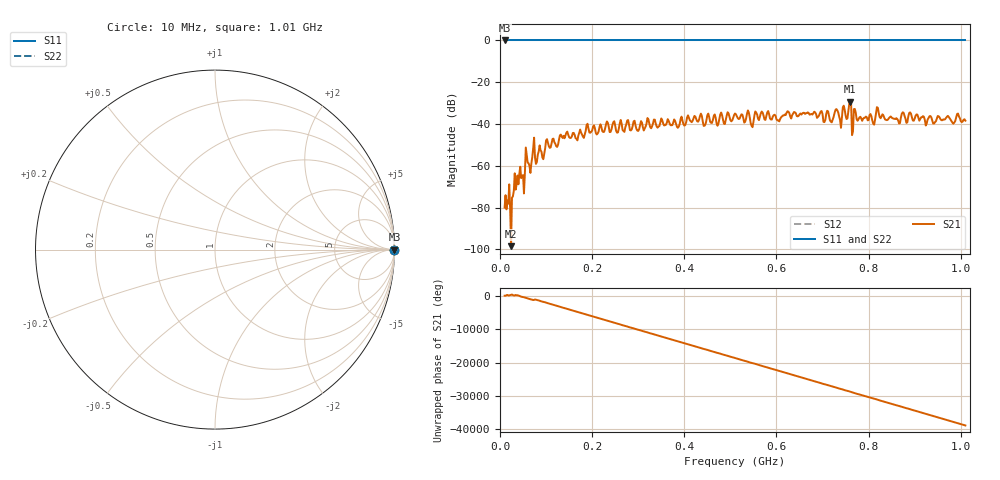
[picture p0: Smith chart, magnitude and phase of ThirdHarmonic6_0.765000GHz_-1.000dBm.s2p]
! 8/16/2025 1:34:16 AM
! C:\ANRITSUVNA\TEMP\TEMP.S2P
! CHANNEL.1
! TR.MEASUREMENT
! RAW.DATA
! RF.CORRECTION.OFF
! AVERAGING.OFF
! IF.BANDWIDTH: 5KHZ
! SWEEPTYPE:  FREQ.SWEEP(Linear)
! Reference Plane Port Info
! PORT:  PORT1  PORT2
! DISTANCE:  0  m  0  m
! TIME:  0  s  0  s
! PHASE.OFFSET:  0  deg.  0  deg.
! LOSS:  0  dB  0  dB
! REF.LOSS:  0  dB  0  dB
! REF.FREQ:  0  Hz  0  Hz
! Power Info
! POWER:  -20  dBm  -20  dBm
! EFF.POWER:  -20  dBm  -20  dBm
! SOURCE.ATTEN:  0  dB  0  dB
! TEST.ATTEN:  0  dB  0  dB
# GHZ S RI R 50.0
! FREQ.GHZ  S11RE  S11IM  S21RE  S21IM  S12RE  S12IM  S22RE  S22IM
!; PortSelection: Port_12
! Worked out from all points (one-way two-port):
!   501 points, 10 MHz to 1.01 GHz, reference 50 ohm
!   highest |S21| = -29.32 dB at 760 MHz (marker M1); lowest = -98.5 dB at 24 MHz (marker M2)
!   lowest |S11| = 0.0 dB at 10 MHz (marker M3)
!   |S11| at or under -10 dB: nowhere
!   |S22| runs from 0.0 to 0.0 dB; largest |S21 - S12| = 1
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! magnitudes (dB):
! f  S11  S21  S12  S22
! 10 MHz  0.0  -80.1  0.0  0.0
! 24 MHz  0.0  -98.5  0.0  0.0
! 72 MHz  0.0  -51.7  0.0  0.0
! 80 MHz  0.0  -58.2  0.0  0.0
! 102 MHz  0.0  -47.3  0.0  0.0
! 178 MHz  0.0  -45.1  0.0  0.0
! 232 MHz  0.0  -38.8  0.0  0.0
! 344 MHz  0.0  -41.2  0.0  0.0
! 510 MHz  0.0  -35.0  0.0  0.0
! 538 MHz  0.0  -33.5  0.0  0.0
! 546 MHz  0.0  -40.9  0.0  0.0
! 556 MHz  0.0  -34.6  0.0  0.0
! 678 MHz  0.0  -35.5  0.0  0.0
! 720 MHz  0.0  -39.2  0.0  0.0
! 730 MHz  0.0  -32.9  0.0  0.0
! 738 MHz  0.0  -38.1  0.0  0.0
! 760 MHz  0.0  -29.3  0.0  0.0
! 768 MHz  0.0  -32.9  0.0  0.0
! 810 MHz  0.0  -39.9  0.0  0.0
! 820 MHz  0.0  -32.3  0.0  0.0
! 844 MHz  0.0  -37.2  0.0  0.0
! 1.01 GHz  0.0  -38.4  0.0  0.0
